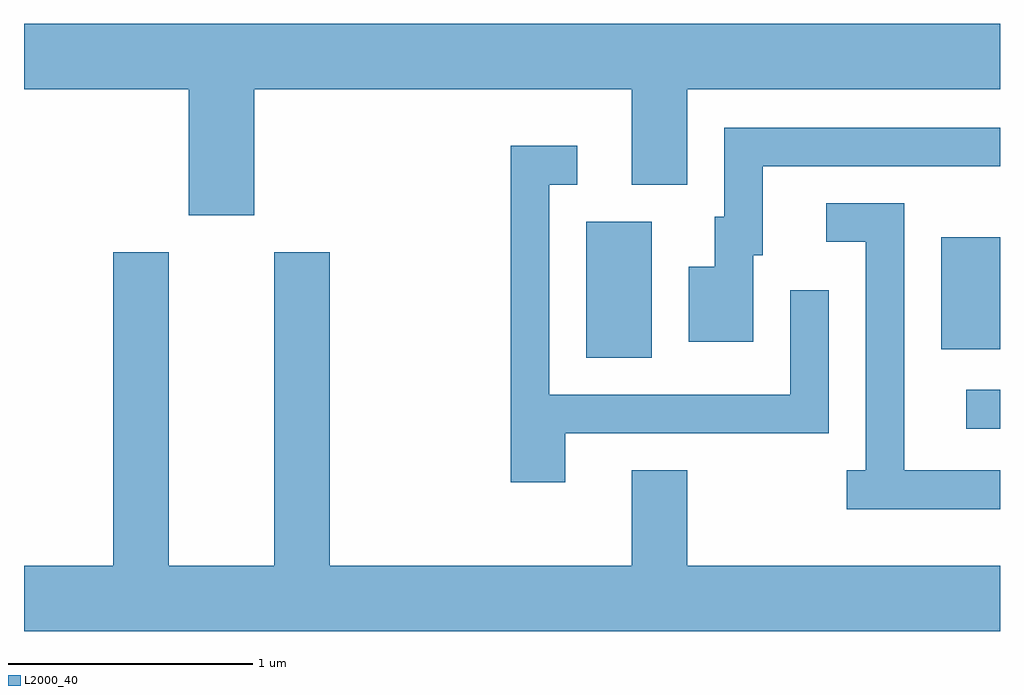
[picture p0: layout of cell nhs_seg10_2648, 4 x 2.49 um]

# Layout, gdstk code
import gdstk
lib = gdstk.Library(unit=1e-6, precision=1e-09)
def R(c, l, rs):  # rectangles x0, y0, x1, y1
    for r in rs: c.add(gdstk.rectangle(r[:2], r[2:], *l))
def P(c, l, *ps):  # polygons
    for p in ps: c.add(gdstk.Polygon(p, *l))
L2000_40 = (2000, 40)

nhs_seg10_2648 = lib.new_cell('nhs_seg10_2648')
R(nhs_seg10_2648, L2000_40, [(267.473,2088.106,267.611,2088.264), (265.916,2088.396,266.184,2088.954), (267.371,2088.431,267.611,2088.889)])
P(nhs_seg10_2648, L2000_40, [(264.554,2089.496),(266.101,2089.496),(266.101,2089.106),(266.329,2089.106),(266.329,2089.496),(267.611,2089.496),(267.611,2089.764),(263.611,2089.764),(263.611,2089.496),(264.286,2089.496),(264.286,2088.981),(264.554,2088.981)],
  [(266.599,2088.816),(266.639,2088.816),(266.639,2089.181),(267.611,2089.181),(267.611,2089.339),(266.481,2089.339),(266.481,2088.974),(266.441,2088.974),(266.441,2088.769),(266.336,2088.769),(266.336,2088.461),(266.599,2088.461)],
  [(265.829,2088.086),(266.909,2088.086),(266.909,2088.673),(266.751,2088.673),(266.751,2088.244),(265.764,2088.244),(265.764,2089.106),(265.878,2089.106),(265.878,2089.264),(265.606,2089.264),(265.606,2087.886),(265.829,2087.886)],
  [(267.611,2087.934),(267.219,2087.934),(267.219,2089.029),(266.898,2089.029),(266.898,2088.871),(267.061,2088.871),(267.061,2087.934),(266.983,2087.934),(266.983,2087.776),(267.611,2087.776)],
  [(267.611,2087.544),(266.329,2087.544),(266.329,2087.934),(266.101,2087.934),(266.101,2087.544),(264.864,2087.544),(264.864,2088.829),(264.636,2088.829),(264.636,2087.544),(264.204,2087.544),(264.204,2088.829),(263.976,2088.829),(263.976,2087.544),(263.611,2087.544),(263.611,2087.276),(267.611,2087.276)])

lib.write_gds('nhs_seg10_2648.gds')
